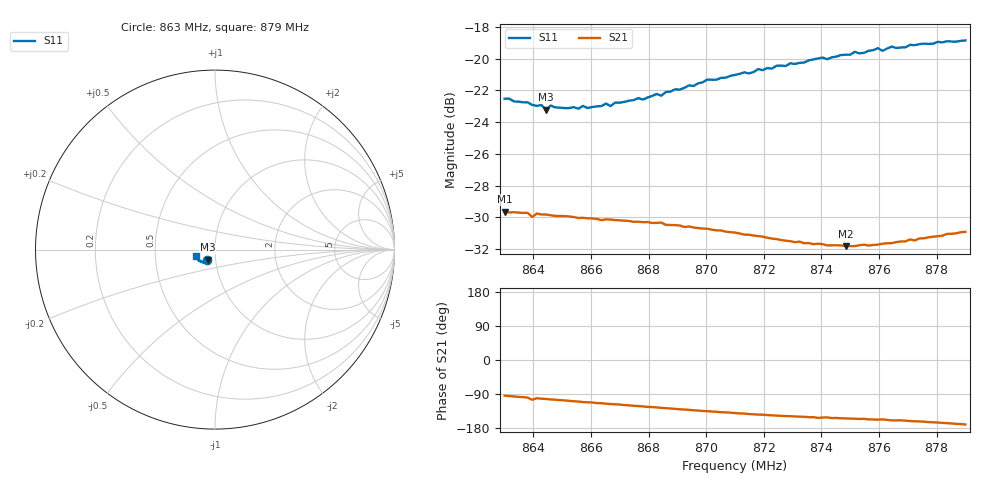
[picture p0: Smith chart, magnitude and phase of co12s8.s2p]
# HZ S RI R 50
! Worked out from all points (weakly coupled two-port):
!   101 points, 863 MHz to 879 MHz, reference 50 ohm
!   highest |S21| = -29.62 dB at 863 MHz (marker M1); lowest = -31.8 dB at 874.84 MHz (marker M2)
!   lowest |S11| = -23.2 dB at 864.44 MHz (marker M3), VSWR 1.15, Z = 45.8 - j5.14 ohm
!   |S11| at or under -10 dB: start of sweep to end of sweep
!   S12 and S22 are empty: the file has one direction only
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8.63e8  -0.0466 -0.0585  -0.00226 -0.0329  0 0  0 0
8.638e8  -0.0443 -0.0578  -0.00534 -0.0323  0 0  0 0
8.6396e8  -0.0444 -0.0561  -0.00817 -0.0307  0 0  0 0
8.6428e8  -0.0423 -0.0576  -0.00677 -0.0316  0 0  0 0
8.6444e8  -0.0407 -0.0558  -0.00716 -0.0315  0 0  0 0
8.646e8  -0.042 -0.0574  -0.00784 -0.0312  0 0  0 0
8.6556e8  -0.0391 -0.0575  -0.0106 -0.0297  0 0  0 0
8.6572e8  -0.038 -0.06  -0.0113 -0.0294  0 0  0 0
8.6588e8  -0.0375 -0.059  -0.0116 -0.0292  0 0  0 0
8.6652e8  -0.0375 -0.0617  -0.0133 -0.0282  0 0  0 0
8.6668e8  -0.0374 -0.0602  -0.0138 -0.0279  0 0  0 0
8.6684e8  -0.0383 -0.0618  -0.0141 -0.0277  0 0  0 0
8.6828e8  -0.0398 -0.0664  -0.0175 -0.0248  0 0  0 0
8.6844e8  -0.04 -0.0652  -0.018 -0.0246  0 0  0 0
8.7004e8  -0.048 -0.0713  -0.0206 -0.0206  0 0  0 0
8.71e8  -0.0528 -0.0715  -0.0217 -0.0182  0 0  0 0
8.7372e8  -0.0705 -0.0702  -0.0228 -0.0127  0 0  0 0
8.7484e8  -0.0782 -0.0668  -0.0231 -0.0112  0 0  0 0
8.7596e8  -0.0882 -0.0622  -0.024 -0.00995  0 0  0 0
8.7612e8  -0.0868 -0.0605  -0.024 -0.0103  0 0  0 0
8.7644e8  -0.0933 -0.0566  -0.0246 -0.00926  0 0  0 0
8.79e8  -0.1083 -0.0358  -0.0281 -0.0048  0 0  0 0
